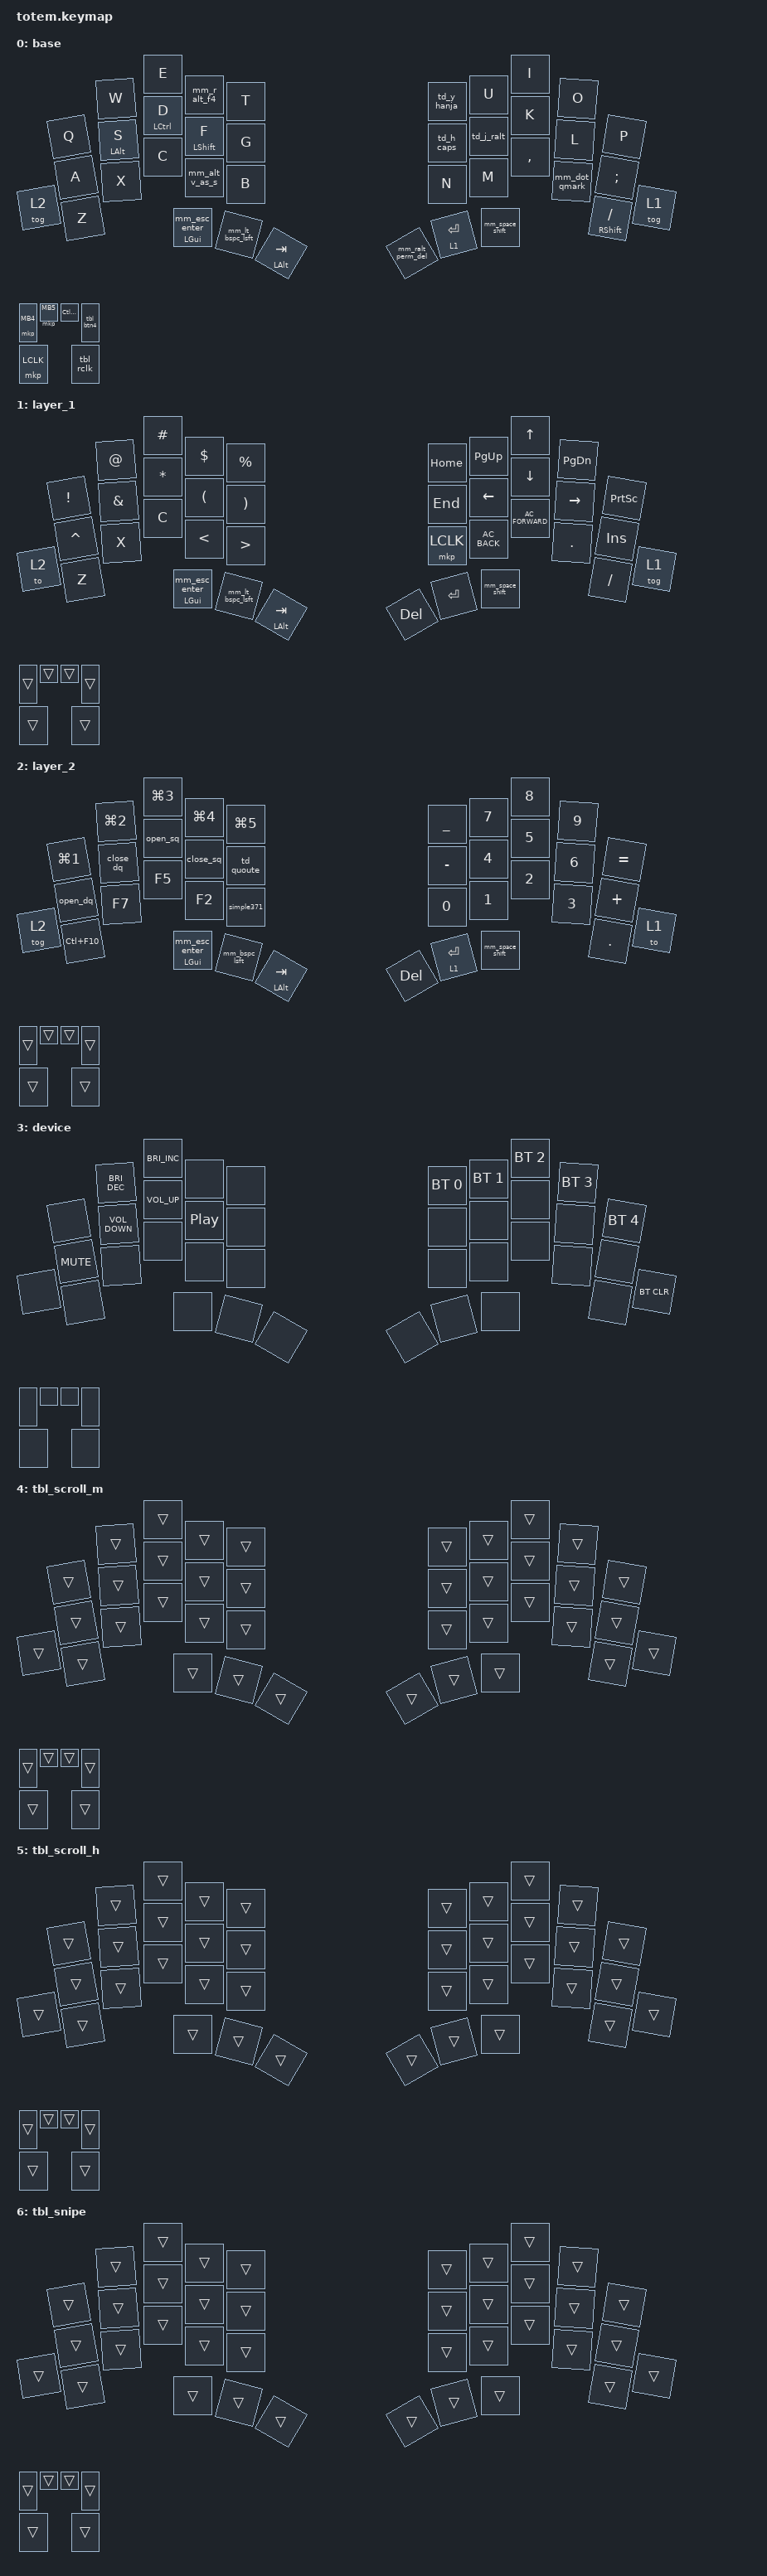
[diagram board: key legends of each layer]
//
//                                                        ▀▀▀▀▀     ▀▀▀▀▀          ▀▀█▀▀
//                                                        ▄▀▀▀▄  ▄  ▄▀▀▀▄  ▄  ▄▀▀▀▄  █  ▄▀▀▀▄
//                                                        █   █  █  █   █  █  █   █  █  █   █
//                                                         ▀▀▀   █   ▀▀▀   █   ▀▀▀   ▀   ▀▀▀
//                                                               █      ▄▄▄█▄▄▄    █   █  
//                                                               ▀      █  █  █     █▄█
//                                                             ▀▀▀▀▀    █  █  █      ▀
//                                                                      ▀  ▀  ▀
//
// ▄▄▄▄▄▄▄▄▄▄▄▄▄▄▄▄▄▄▄▄▄▄▄▄▄▄▄▄▄▄▄▄▄▄▄▄▄▄▄▄▄▄▄▄▄▄▄▄▄▄▄▄▄▄▄▄▄▄▄▄▄▄▄▄▄▄▄▄▄▄▄▄▄▄▄▄▄▄▄▄▄▄▄▄▄▄▄▄▄▄▄▄▄▄▄▄▄▄▄▄▄▄▄▄▄▄▄▄▄▄▄▄▄▄▄▄▄▄▄▄▄▄▄▄▄▄▄▄▄▄▄▄▄▄▄▄▄▄▄▄▄▄▄▄▄▄▄▄▄

#include <behaviors.dtsi>
#include <dt-bindings/zmk/bt.h>
#include <dt-bindings/zmk/keys.h>
#include <dt-bindings/zmk/mouse.h>
#include <dt-bindings/zmk/pointing.h>

/ {
    macros {
        simple371: simple371 {
            compatible = "zmk,behavior-macro";
            #binding-cells = <0>;
            bindings = <&kp S &kp I &kp M &kp P &kp L &kp E &kp N3 &kp N7 &kp N1>;
        };

        // 여는 쌍따옴표 (Alt + 0147)

        open_dq: open_dq {
            compatible = "zmk,behavior-macro";
            #binding-cells = <0>;
            wait-ms = <20>; // Num Lock 전환 인식 시간을 위해 살짝 늘림
            tap-ms = <20>;
            bindings =
                <&macro_tap>,
                <&kp KP_NUM>,
                <&macro_press>,
                <&kp LALT>,
                <&macro_tap>,
                <&kp KP_N0 &kp KP_N1 &kp KP_N4 &kp KP_N7>,
                <&macro_release>,
                <&kp LALT>,
                <&macro_tap>,
                <&kp KP_NUM>;

            // Num Lock 토글 (끄기)
        };

        // 닫는 쌍따옴표 (Alt + 0148)

        close_dq: close_dq {
            compatible = "zmk,behavior-macro";
            #binding-cells = <0>;
            wait-ms = <20>;
            tap-ms = <20>;
            bindings =
                <&macro_tap>,
                <&kp KP_NUM>,
                <&macro_press>,
                <&kp LALT>,
                <&macro_tap>,
                <&kp KP_N0 &kp KP_N1 &kp KP_N4 &kp KP_N8>,
                <&macro_release>,
                <&kp LALT>,
                <&macro_tap>,
                <&kp KP_NUM>;
        };

        // 여는 외따옴표 (Alt + 0145)

        open_sq: open_sq {
            compatible = "zmk,behavior-macro";
            #binding-cells = <0>;
            wait-ms = <20>;
            tap-ms = <20>;
            bindings =
                <&macro_tap>,
                <&kp KP_NUM>,
                <&macro_press>,
                <&kp LALT>,
                <&macro_tap>,
                <&kp KP_N0 &kp KP_N1 &kp KP_N4 &kp KP_N5>,
                <&macro_release>,
                <&kp LALT>,
                <&macro_tap>,
                <&kp KP_NUM>;
        };

        // 닫는 외따옴표 (Alt + 0146)

        close_sq: close_sq {
            compatible = "zmk,behavior-macro";
            #binding-cells = <0>;
            wait-ms = <20>;
            tap-ms = <20>;
            bindings =
                <&macro_tap>,
                <&kp KP_NUM>,
                <&macro_press>,
                <&kp LALT>,
                <&macro_tap>,
                <&kp KP_N0 &kp KP_N1 &kp KP_N4 &kp KP_N6>,
                <&macro_release>,
                <&kp LALT>,
                <&macro_tap>,
                <&kp KP_NUM>;
        };
    };

    behaviors {
        hm: homerow_mods {
            compatible = "zmk,behavior-hold-tap";
            label = "HOMEROW_MODS";
            #binding-cells = <2>;

            // 1. 전체 태핑 텀: 260ms (안전한 기준점)

            tapping-term-ms = <190>;

            // 2. Quick Tap: 0 (연타 시 컨트롤 발동 원천 차단)

            quick-tap-ms = <0>;

            // 3. Flavor: tap-preferred (타자 시 무조건 문자 우선)

            flavor = "tap-preferred";

            // 4. Require Prior Idle: 125ms (핵심 요청 사항)
            // 직전 타자 후 0.125초 동안은 홀드 기능을 잠금 처리하여
            // 문장을 빠르게 칠 때 단축키가 터지는 것을 물리적으로 방지합니다.

            require-prior-idle-ms = <190>;
            bindings = <&kp>, <&kp>;
        };

        hs: homerow_shift {
            compatible = "zmk,behavior-hold-tap";
            label = "HOMEROW_SHIFT";
            #binding-cells = <2>;
            tapping-term-ms = <190>;    // 시프트는 조금 더 빨리 낚아채도록 낮춤
            quick-tap-ms = <0>;
            flavor = "balanced";         // 누른 채 다른 키를 치면 즉시 시프트로 인정
            require-prior-idle-ms = <0>; // 대기 시간(Idle) 없이 즉시 반응
            bindings = <&kp>, <&kp>;
        };

        mm_space_ralt: mod_morph_space_ralt {
            compatible = "zmk,behavior-mod-morph";
            #binding-cells = <0>;
            bindings = <&kp SPACE>, <&kp DEL>;

            mods = <(MOD_RSFT)>;
        };

        mm_r_alt_f4: mod_morph_r_alt_f4 {
            compatible = "zmk,behavior-mod-morph";
            #binding-cells = <0>;
            bindings = <&kp R>, <&kp LA(F4)>;

            mods = <(MOD_LALT)>;
        };

        mm_dot_qmark: mod_morph_dot_qmark {
            compatible = "zmk,behavior-mod-morph";
            #binding-cells = <0>;
            bindings = <&kp DOT>, <&kp FSLH>;

            mods = <(MOD_RSFT)>;
            keep-mods = <(MOD_RSFT)>;
        };

        mm_esc_enter: mod_morph_esc_enter {
            compatible = "zmk,behavior-mod-morph";
            #binding-cells = <0>;
            bindings = <&kp ESC>, <&kp ENTER>;

            mods = <(MOD_LSFT)>;
        };

        mt_lgui_esc: mt_lgui_esc {
            compatible = "zmk,behavior-hold-tap";
            #binding-cells = <2>;
            tapping-term-ms = <200>;
            quick-tap-ms = <0>;
            flavor = "tap-preferred";
            bindings = <&kp>, <&mm_esc_enter>;
        };

        mm_bspc_lsft: mod_morph_bspc_lsft {
            compatible = "zmk,behavior-mod-morph";
            #binding-cells = <0>;
            bindings = <&kp BSPC>, <&kp BSPC>;

            mods = <(MOD_LSFT)>;
        };

        mm_enter_alttab: mod_morph_enter_alttab {
            compatible = "zmk,behavior-mod-morph";
            #binding-cells = <0>;
            bindings = <&mm_bspc_lsft>, <&kp TAB>;

            mods = <(MOD_LALT|MOD_RALT)>;
            keep-mods = <(MOD_LALT|MOD_RALT)>;
        };

        lt_mm: lt_mod_morph {
            compatible = "zmk,behavior-hold-tap";
            label = "LT_MOD_MORPH";
            #binding-cells = <2>;
            tapping-term-ms = <170>;
            quick-tap-ms = <0>;
            flavor = "tap-preferred";
            bindings = <&mo>, <&mm_enter_alttab>;
        };

td_h_caps: tap_dance_h_caps {
            compatible = "zmk,behavior-tap-dance";
            #binding-cells = <0>;
            tapping-term-ms = <210>;
            bindings = <&kp H>, <&kp CAPS>;
        };

        td_j_ralt: tap_dance_j_ralt {
            compatible = "zmk,behavior-tap-dance";
            #binding-cells = <0>;
            tapping-term-ms = <210>;
            bindings = <&kp J>, <&kp RALT>;
        };

        td_u_layer1: td_u_layer1 {
            compatible = "zmk,behavior-tap-dance";
            label = "TD_U_LAYER1";
            #binding-cells = <0>;
            bindings = <&kp U>, <&tog 1>;

            tapping-term-ms = <210>;
        };

        td_y_hanja: td_y_hanja {
            compatible = "zmk,behavior-tap-dance";
            label = "TD_Y_HANJA";
            #binding-cells = <0>;
            bindings = <&kp Y>, <&kp LANG_HANJA>;

            tapping-term-ms = <210>;
        };

        td_i_layer2: td_i_layer2 {
            compatible = "zmk,behavior-tap-dance";
            label = "TD_I_LAYER2";
            #binding-cells = <0>;
            bindings = <&kp I>, <&tog 2>;
        };

        td_quoute: td_quoute {
            compatible = "zmk,behavior-tap-dance";
            label = "TD_QUOUTE";
            #binding-cells = <0>;
            bindings = <&kp SINGLE_QUOTE>, <&kp DOUBLE_QUOTES>;

            tapping-term-ms = <210>;
        };

        td_pgup_layer1: td_pgup_layer1 {
            compatible = "zmk,behavior-tap-dance";
            label = "TD_PGUP_LAYER1";
            #binding-cells = <0>;
            bindings = <&kp PG_UP>, <&tog 1>;

            tapping-term-ms = <190>;
        };

        td_8_layer2: td_8_layer2 {
            compatible = "zmk,behavior-tap-dance";
            label = "TD_8_LAYER2";
            #binding-cells = <0>;
            bindings = <&kp N8>, <&tog 2>;

            tapping-term-ms = <190>;
        };


        mm_space_shift: mod_morph_space_shift {
            compatible = "zmk,behavior-mod-morph";
            #binding-cells = <0>;
            bindings = <&mm_space_ralt>, <&kp DEL>;

            mods = <(MOD_RSFT)>;
        };

        mm_ralt_perm_del: mod_morph_ralt_perm_del {
            compatible = "zmk,behavior-mod-morph";
            #binding-cells = <0>;
            bindings = <&kp RALT>, <&kp LS(DEL)>;

            mods = <(MOD_RSFT)>;
        };

        mm_lt_bspc_lsft: mm_lt_bspc_lsft {
            compatible = "zmk,behavior-mod-morph";
            #binding-cells = <0>;
            bindings = <&lt_mm 2 0>, <&mm_bspc_lsft>;

            mods = <(MOD_LSFT)>;
        };

        mm_alt_v_as_s: mm_alt_v_as_s {
            compatible = "zmk,behavior-mod-morph";
            #binding-cells = <0>;
            bindings = <&kp V>, <&kp S>;
            mods = <(MOD_LALT)>;
            keep-mods = <(MOD_LALT)>;
        };

        // ── Trackball button behaviors ──────────────────────────
        lth: layer_tap_hold {
            compatible = "zmk,behavior-hold-tap";
            #binding-cells = <2>;
            flavor = "hold-preferred";
            hold-while-undecided;
            tapping-term-ms = <150>;
            bindings = <&mo>, <&mkp>;
        };
        tbl_btn4: tbl_btn4 {
            compatible = "zmk,behavior-tap-dance";
            #binding-cells = <0>;
            tapping-term-ms = <250>;
            bindings = <&kp LC(V)>, <&tog 6>;
        };
        tbl_rclk: tbl_rclk {
            compatible = "zmk,behavior-tap-dance";
            #binding-cells = <0>;
            tapping-term-ms = <250>;
            bindings = <&lth 4 RCLK>, <&tog 5>;
        };
    };

    combos {
        compatible = "zmk,combos";

        combo_kl_ralt {
            timeout-ms = <75>;
            key-positions = <17 18>;
            bindings = <&kp RALT>;
        };

        combo_mcomma_excl {
            timeout-ms = <75>;
            key-positions = <27 28>;
            bindings = <&kp EXCL>;
        };

        combo_commadot_qmark {
            timeout-ms = <75>;
            key-positions = <28 29>;
            bindings = <&kp QMARK>;
        };

        combo_cv_paste {
            timeout-ms = <75>;
            key-positions = <23 24>;
            bindings = <&kp LC(V)>;
        };

        combo_xc_copy {
            timeout-ms = <75>;
            key-positions = <22 23>;
            bindings = <&kp LC(C)>;
        };

        combo_zx_cut {
            timeout-ms = <100>;
            key-positions = <21 22>;
            bindings = <&kp LC(X)>;
        };

        combo_xv_enter {
            timeout-ms = <75>;
            key-positions = <22 24>;
            bindings = <&kp ENTER>;
        };

        combo_vb_enter {
            timeout-ms = <75>;
            key-positions = <24 25>;
            bindings = <&kp ENTER>;
        };

        combo_nm_tilde {
            timeout-ms = <75>;
            key-positions = <26 27>;
            bindings = <&kp TILDE>;
        };

        combo_mdot_del {
            timeout-ms = <75>;
            key-positions = <27 29>;
            bindings = <&kp DEL>;
        };

        combo_wr_ralt {
            timeout-ms = <75>;
            key-positions = <1 3>;
            bindings = <&kp RALT>;
        };

        combo_we_back {
            timeout-ms = <75>;
            key-positions = <1 2>;
            bindings = <&kp C_AC_BACK>;
        };

        combo_er_forward {
            timeout-ms = <75>;
            key-positions = <2 3>;
            bindings = <&kp C_AC_FORWARD>;
        };
    };

    keymap {
        compatible = "zmk,keymap";

        base {
            bindings = <
        &kp Q  &kp W       &kp E         &mm_r_alt_f4  &kp T           &td_y_hanja  &kp U         &kp I            &kp O          &kp P
        &kp A  &hm LALT S  &hm LCTRL D   &hm LSHIFT F  &kp G           &td_h_caps   &td_j_ralt    &kp K            &kp L          &kp SEMI
&tog 2  &kp Z  &kp X       &kp C         &mm_alt_v_as_s  &kp B           &kp N        &kp M         &kp COMMA        &mm_dot_qmark  &mt RSHIFT FSLH    &tog 1
                           &mt_lgui_esc LGUI 0  &mm_lt_bspc_lsft    &mt LALT TAB    &mm_ralt_perm_del  &lt 1 ENTER  &mm_space_shift
        &mkp MB4  &mkp MB5  &kp LC(C)  &tbl_btn4  &mkp LCLK  &tbl_rclk
            >;
        };

        layer_1 {
            bindings = <
            &kp EXCL   &kp AT    &kp HASH      &kp DLLR       &kp PRCNT           &kp HOME  &kp PG_UP      &kp UP           &kp PG_DN  &kp PSCRN
            &kp CARET  &kp AMPS  &kp STAR      &kp LPAR       &kp RPAR            &kp END   &kp LEFT       &kp DOWN         &kp RIGHT  &kp INS
&to 2       &kp Z      &kp X     &kp C         &kp LESS_THAN  &kp GREATER_THAN    &mkp LCLK         &kp C_AC_BACK    &kp C_AC_FORWARD &kp DOT    &kp FSLH   &tog 1
                                 &mt_lgui_esc LGUI 0  &mm_lt_bspc_lsft    &mt LALT TAB        &kp DEL   &kp ENTER      &mm_space_shift
        &trans &trans &trans &trans &trans &trans
            >;
        };

        layer_2 {
            bindings = <
        &kp LG(N1)   &kp LG(N2)  &kp LG(N3)    &kp LG(N4)  &kp LG(N5)      &kp UNDER  &kp N7           &kp N8           &kp N9  &kp EQUAL
        &open_dq     &close_dq   &open_sq      &close_sq   &td_quoute      &kp MINUS  &kp N4           &kp N5           &kp N6  &kp PLUS
&tog 2  &kp LC(F10)  &kp F7      &kp F5        &kp F2      &simple371      &kp N0     &kp N1           &kp N2           &kp N3  &kp DOT    &to 1
                                 &mt_lgui_esc LGUI 0  &mm_bspc_lsft  &mt LALT TAB    &kp DEL    &lt 1 ENTER  &mm_space_shift
        &trans &trans &trans &trans &trans &trans
            >;
        };

        device {
            bindings = <
       &none       &kp C_BRIGHTNESS_DEC  &kp C_BRIGHTNESS_INC  &none             &none    &bt BT_SEL 0  &bt BT_SEL 1  &bt BT_SEL 2  &bt BT_SEL 3  &bt BT_SEL 4
       &kp K_MUTE  &kp C_VOLUME_DOWN     &kp C_VOLUME_UP       &kp C_PLAY_PAUSE  &none    &none         &none         &none         &none         &none
&none  &none       &none                 &none                 &none             &none    &none         &none         &none         &none         &none         &bt BT_CLR
                                         &none                 &none             &none    &none         &none         &none
        &none &none &none &none &none &none
            >;
        };

        // Layer 4: Trackball scroll mode (momentary via &mo 4)
        tbl_scroll_m {
            bindings = <
        &trans &trans &trans &trans &trans &trans &trans &trans &trans &trans
        &trans &trans &trans &trans &trans &trans &trans &trans &trans &trans
&trans  &trans &trans &trans &trans &trans &trans &trans &trans &trans &trans &trans
                      &trans &trans &trans &trans &trans &trans
        &trans &trans &trans &trans &trans &trans
            >;
        };

        // Layer 5: Trackball scroll mode (toggle via &tog 5)
        tbl_scroll_h {
            bindings = <
        &trans &trans &trans &trans &trans &trans &trans &trans &trans &trans
        &trans &trans &trans &trans &trans &trans &trans &trans &trans &trans
&trans  &trans &trans &trans &trans &trans &trans &trans &trans &trans &trans &trans
                      &trans &trans &trans &trans &trans &trans
        &trans &trans &trans &trans &trans &trans
            >;
        };

        // Layer 6: Trackball snipe mode (toggle via &tog 6)
        tbl_snipe {
            bindings = <
        &trans &trans &trans &trans &trans &trans &trans &trans &trans &trans
        &trans &trans &trans &trans &trans &trans &trans &trans &trans &trans
&trans  &trans &trans &trans &trans &trans &trans &trans &trans &trans &trans &trans
                      &trans &trans &trans &trans &trans &trans
        &trans &trans &trans &trans &trans &trans
            >;
        };
    };

    conditional_layers {
        compatible = "zmk,conditional-layers";

        device {
            if-layers = <1 2>;
            then-layer = <3>;
        };
    };
};

